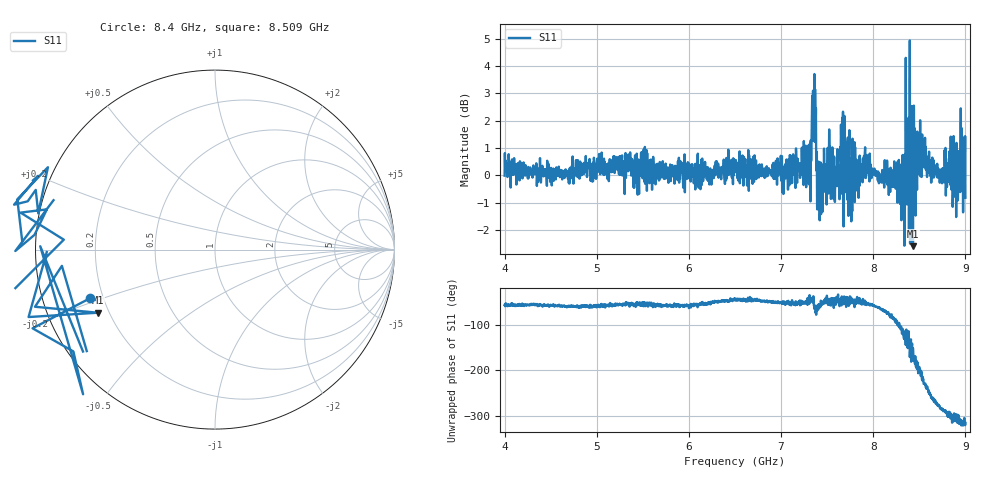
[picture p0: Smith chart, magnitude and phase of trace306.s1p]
! Created with skrf 1.8.0 (http://scikit-rf.org).
# Hz S RI R 50.0
!freq ReS11 ImS11
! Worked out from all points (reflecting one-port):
!   1601 points, 4 GHz to 9 GHz, reference 50 ohm
!   lowest |S11| = -2.6 dB at 8.431 GHz (marker M1), VSWR 6.75, Z = 7.86 - j12.3 ohm
!   phase of S11 starts at -58 deg and turns -257 deg over the sweep
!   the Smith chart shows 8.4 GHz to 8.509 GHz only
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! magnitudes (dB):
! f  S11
! 4 GHz  0.0
! 4.625 GHz  -0.1
! 5.25 GHz  0.0
! 5.875 GHz  0.1
! 6.5 GHz  0.1
! 7.125 GHz  0.5
! 7.294 GHz  -0.1
! 7.353 GHz  2.1
! 7.416 GHz  -0.7
! 7.531 GHz  0.5
! 7.609 GHz  -0.3
! 7.669 GHz  1.8
! 7.75 GHz  0.3
! 7.925 GHz  0.7
! 8.094 GHz  -0.3
! 8.259 GHz  0.5
! 8.316 GHz  0.1
! 8.334 GHz  0.2
! 8.35 GHz  0.1
! 8.375 GHz  -0.8
! 8.412 GHz  -0.2
! 8.431 GHz  -2.6
! 8.522 GHz  0.5
! 8.638 GHz  0.2
! 8.9 GHz  -1.5
! 8.947 GHz  0.8
! 8.972 GHz  0.7
! 9 GHz  -0.8
